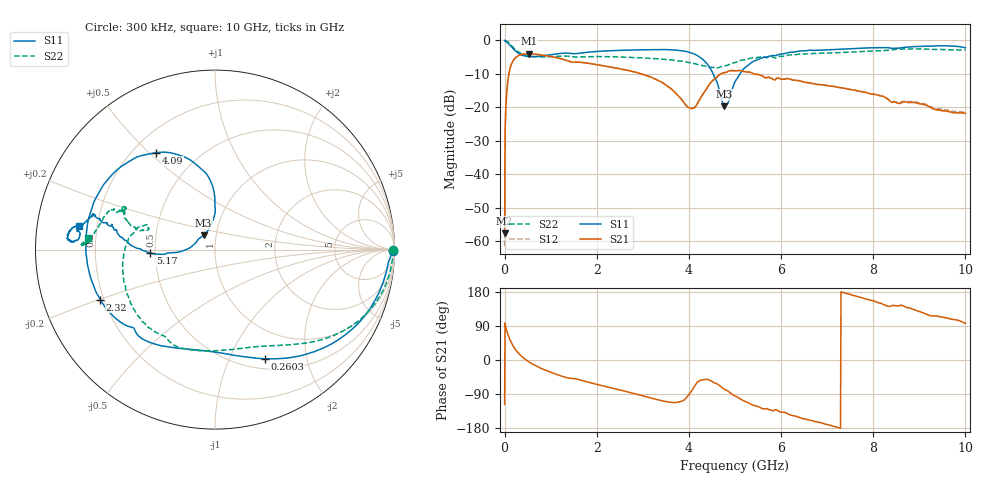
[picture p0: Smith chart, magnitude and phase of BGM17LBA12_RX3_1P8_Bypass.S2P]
!Agilent Technologies,E5071C,MY46316587,B.13.01
!Date: Fri Dec 08 11:03:35 2017
!Data & Calibration Information:
!Freq	S11:SOLT2(ON)	S21:SOLT2(ON)	S12:SOLT2(ON)	S22:SOLT2(ON)
!PortZ  Port1:50+j0  Port2:50+j0
!Above PortZ is port z conversion or system Z0 setting when saving the data.
!When reading, reference impedance value at option line is always used.
# Hz S dB R 50
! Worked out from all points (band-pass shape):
!   1001 points, 300 kHz to 10 GHz, reference 50 ohm
!   highest |S21| = -4.07 dB at 530.3 MHz (marker M1); lowest = -57.6 dB at 300 kHz (marker M2)
!   |S21| within 3 dB of the highest: 151.5 MHz to 1.895 GHz (1.743 GHz wide, 170 % of centre)
!   lowest |S11| = -19.8 dB at 4.77 GHz (marker M3), VSWR 1.23, Z = 43.5 + j7.06 ohm
!   |S11| at or under -10 dB: 4.524 GHz to 5.11 GHz (586.7 MHz wide, 12.2 % of centre)
!   |S22| runs from -8.3 to -0.1 dB; largest |S21 - S12| = 0.0056
!   S11 on the Smith chart (normalised r, x): 300 kHz: open; 260.3 MHz: 0.62, -1.36; 2.32 GHz: 0.19, -0.20; 4.09 GHz: 0.29, +0.53; 5.17 GHz: 0.47, -0.02; 10 GHz: 0.13, +0.08
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300000  -0.08 -0.4  -57.64 -117.0  -61.52 -175.7  -0.09 -0.2
6.02982e7  -0.69 -21.1  -13.34 71.5  -13.25 71.5  -0.41 -16.0
7.02979e7  -0.81 -24.2  -12.13 68.0  -12.06 68.0  -0.51 -18.4
1.402958e8  -1.85 -43.3  -7.48 47.3  -7.43 47.2  -1.50 -32.9
2.602922e8  -3.50 -65.6  -4.96 23.7  -4.92 23.5  -3.12 -48.9
5.302841e8  -4.91 -92.4  -4.07 -5.0  -4.05 -5.2  -4.75 -70.3
1.030269e9  -4.28 -118.5  -4.95 -33.8  -4.92 -33.9  -4.89 -98.3
1.67025e9  -3.81 -138.5  -6.65 -53.7  -6.60 -53.6  -5.01 -122.0
2.32023e9  -3.13 -156.5  -8.08 -73.9  -8.07 -73.6  -4.94 -138.9
3.3402e9  -2.79 165.6  -12.07 -105.3  -12.06 -104.9  -5.59 -167.7
3.720188e9  -2.95 145.5  -15.93 -112.2  -15.85 -112.0  -6.04 178.2
4.090177e9  -3.99 121.2  -20.33 -75.5  -20.24 -75.2  -6.87 165.4
4.460166e9  -8.34 93.7  -12.92 -54.1  -12.91 -54.0  -8.11 161.0
4.770157e9  -19.80 128.3  -9.68 -77.3  -9.68 -77.3  -7.69 164.8
4.840155e9  -18.95 158.7  -9.35 -81.5  -9.32 -81.3  -7.46 165.6
5.00015e9  -12.42 -175.8  -9.16 -94.9  -9.13 -94.8  -6.67 164.5
5.170145e9  -8.83 -177.0  -9.26 -106.9  -9.24 -106.7  -5.86 162.1
5.600132e9  -5.19 170.6  -10.72 -128.4  -10.68 -128.5  -4.94 155.7
6.6701e9  -3.01 163.5  -12.93 -160.0  -12.88 -159.8  -4.00 160.4
8.34005e9  -2.27 172.1  -17.92 141.2  -17.83 141.5  -2.97 176.9
8.910033e9  -1.89 176.8  -18.65 131.6  -18.38 131.6  -2.57 177.9
1e10  -2.27 170.2  -21.91 97.0  -21.58 97.5  -2.98 174.7
